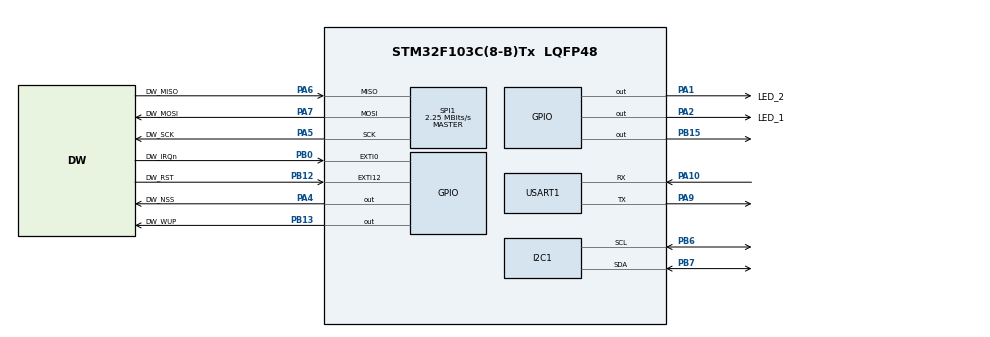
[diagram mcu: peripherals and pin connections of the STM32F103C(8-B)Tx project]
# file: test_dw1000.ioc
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Mcu.Family=STM32F1
Mcu.Name=STM32F103C(8-B)Tx
Mcu.Package=LQFP48
NVIC.EXTI0_IRQn=true\:3\:0\:true\:false\:true\:true\:true\:true
NVIC.EXTI15_10_IRQn=true\:4\:0\:true\:false\:true\:true\:true\:true
NVIC.PriorityGroup=NVIC_PRIORITYGROUP_4
NVIC.USART1_IRQn=true\:0\:0\:false\:false\:true\:true\:true\:true
PA1.GPIO_Label=LED_2
PA1.GPIO_Speed=GPIO_SPEED_FREQ_HIGH
PA1.Signal=GPIO_Output
PA10.Mode=Asynchronous
PA10.Signal=USART1_RX
PA13.Mode=Serial_Wire
PA13.Signal=SYS_JTMS-SWDIO
PA14.Mode=Serial_Wire
PA14.Signal=SYS_JTCK-SWCLK
PA2.GPIO_Label=LED_1
PA2.GPIO_Speed=GPIO_SPEED_FREQ_HIGH
PA2.Signal=GPIO_Output
PA4.GPIO_Label=DW_NSS
PA4.GPIO_Speed=GPIO_SPEED_FREQ_HIGH
PA4.PinState=GPIO_PIN_SET
PA4.Signal=GPIO_Output
PA5.GPIO_Label=DW_SCK
PA5.Mode=Full_Duplex_Master
PA5.Signal=SPI1_SCK
PA6.GPIO_Label=DW_MISO
PA6.GPIO_PuPd=GPIO_PULLDOWN
PA6.Mode=Full_Duplex_Master
PA6.Signal=SPI1_MISO
PA7.GPIO_Label=DW_MOSI
PA7.Mode=Full_Duplex_Master
PA7.Signal=SPI1_MOSI
PA9.Mode=Asynchronous
PA9.Signal=USART1_TX
PB0.GPIO_Label=DW_IRQn
PB0.GPIO_PuPd=GPIO_PULLDOWN
PB0.Signal=GPXTI0
PB12.GPIO_Label=DW_RST
PB12.Signal=GPXTI12
PB13.GPIO_Label=DW_WUP
PB13.GPIO_ModeDefaultOutputPP=GPIO_MODE_OUTPUT_OD
PB13.GPIO_PuPd=GPIO_NOPULL
PB13.GPIO_Speed=GPIO_SPEED_FREQ_HIGH
PB13.PinState=GPIO_PIN_SET
PB13.Signal=GPIO_Output
PB15.Signal=GPIO_Output
PB6.Mode=I2C
PB6.Signal=I2C1_SCL
PB7.Mode=I2C
PB7.Signal=I2C1_SDA
PD0-OSC_IN.Mode=HSE-External-Oscillator
PD0-OSC_IN.Signal=RCC_OSC_IN
PD1-OSC_OUT.Mode=HSE-External-Oscillator
PD1-OSC_OUT.Signal=RCC_OSC_OUT
ProjectManager.HeapSize=0x200
ProjectManager.StackSize=0x400
ProjectManager.TargetToolchain=STM32CubeIDE
RCC.AHBFreq_Value=72000000
RCC.APB1CLKDivider=RCC_HCLK_DIV2
RCC.APB1Freq_Value=36000000
RCC.APB1TimFreq_Value=72000000
RCC.APB2Freq_Value=72000000
RCC.APB2TimFreq_Value=72000000
RCC.HCLKFreq_Value=72000000
RCC.HSEDivPLL=RCC_HSE_PREDIV_DIV2
RCC.HSE_VALUE=16000000
RCC.PLLMUL=RCC_PLL_MUL9
RCC.PLLSourceVirtual=RCC_PLLSOURCE_HSE
RCC.SYSCLKFreq_VALUE=72000000
RCC.SYSCLKSource=RCC_SYSCLKSOURCE_PLLCLK
RCC.USBFreq_Value=48000000
RCC.USBPrescaler=RCC_USBCLKSOURCE_PLL_DIV1_5
SPI1.BaudRatePrescaler=SPI_BAUDRATEPRESCALER_32
SPI1.CalculateBaudRate=2.25 MBits/s
SPI1.Direction=SPI_DIRECTION_2LINES
SPI1.Mode=SPI_MODE_MASTER
SPI1.VirtualType=VM_MASTER
USART1.VirtualMode=VM_ASYNC
board=custom

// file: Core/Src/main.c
/* USER CODE BEGIN Header */
/**
  ******************************************************************************
  * @file           : main.c
  * @brief          : Main program body
  ******************************************************************************
  * @attention
  *
  * Copyright (c) 2024 STMicroelectronics.
  * All rights reserved.
  *
  * This software is licensed under terms that can be found in the LICENSE file
  * in the root directory of this software component.
  * If no LICENSE file comes with this software, it is provided AS-IS.
  *
  ******************************************************************************
  */
/* USER CODE END Header */
#include "main.h"
#include "gpio.h"
#include "i2c.h"
#include "spi.h"
#include "usart.h"

/* USER CODE BEGIN Includes */

#include "dw1000.h"
#include "examples_config.h"
#include "fsm.h"
#include "lcd.h"
#include "terminal.h"
#include "tests.h"

/* USER CODE END Includes */

void SystemClock_Config(void);

int
main(void) {

    /* MCU Configuration--------------------------------------------------------*/

    /* Reset of all peripherals, Initializes the Flash interface and the Systick. */
    HAL_Init();

    /* Configure the system clock */
    SystemClock_Config();

    /* Initialize all configured peripherals */
    MX_GPIO_Init();
    MX_SPI1_Init();
    MX_USART1_UART_Init();
    MX_I2C1_Init();
    /* USER CODE BEGIN 2 */

    setup_DW1000RSTnIRQ(0);

    terminal_init();

    initialise_dw1000();
    configure_dw1000();

#if MODE == TAG
    dwt_setrxantennadelay(TAG_RX_ANT_DLY_DTU);
    dwt_settxantennadelay(TAG_TX_ANT_DLY_DTU);
#else
    dwt_setrxantennadelay(ANCHOR_RX_ANT_DLY_DTU);
    dwt_settxantennadelay(ANCHOR_TX_ANT_DLY_DTU);
#endif

#if MODE == TAG
    source_address = TAG;
    designation_address = ANCHOR_1;
#elif MODE == ANCHOR_1
    source_address = ANCHOR_1;
#elif MODE == ANCHOR_2
    source_address = ANCHOR_2;
#elif MODE == ANCHOR_3
    source_address = ANCHOR_3;
#elif MODE == ANCHOR_4
    source_address = ANCHOR_4;
#endif

    /* USER CODE END 2 */

    /* Infinite loop */
    while (1) {

        /* USER CODE BEGIN 3 */
#if MODE == TAG
        tag_loop();
#else
        anchor_loop();
#endif
    }
    /* USER CODE END 3 */
}

void
SystemClock_Config(void) {
    RCC_OscInitTypeDef RCC_OscInitStruct = {0};
    RCC_ClkInitTypeDef RCC_ClkInitStruct = {0};

    /** Initializes the RCC Oscillators according to the specified parameters
    * in the RCC_OscInitTypeDef structure.
    */
    RCC_OscInitStruct.OscillatorType = RCC_OSCILLATORTYPE_HSE;
    RCC_OscInitStruct.HSEState = RCC_HSE_ON;
    RCC_OscInitStruct.HSEPredivValue = RCC_HSE_PREDIV_DIV2;
    RCC_OscInitStruct.HSIState = RCC_HSI_ON;
    RCC_OscInitStruct.PLL.PLLState = RCC_PLL_ON;
    RCC_OscInitStruct.PLL.PLLSource = RCC_PLLSOURCE_HSE;
    RCC_OscInitStruct.PLL.PLLMUL = RCC_PLL_MUL9;
    if (HAL_RCC_OscConfig(&RCC_OscInitStruct) != HAL_OK) {
        Error_Handler();
    }

    /** Initializes the CPU, AHB and APB buses clocks
    */
    RCC_ClkInitStruct.ClockType = RCC_CLOCKTYPE_HCLK | RCC_CLOCKTYPE_SYSCLK | RCC_CLOCKTYPE_PCLK1 | RCC_CLOCKTYPE_PCLK2;
    RCC_ClkInitStruct.SYSCLKSource = RCC_SYSCLKSOURCE_PLLCLK;
    RCC_ClkInitStruct.AHBCLKDivider = RCC_SYSCLK_DIV1;
    RCC_ClkInitStruct.APB1CLKDivider = RCC_HCLK_DIV2;
    RCC_ClkInitStruct.APB2CLKDivider = RCC_HCLK_DIV1;

    if (HAL_RCC_ClockConfig(&RCC_ClkInitStruct, FLASH_LATENCY_2) != HAL_OK) {
        Error_Handler();
    }
}

void
Error_Handler(void) {
    __disable_irq();
    while (1) {}
}

#ifdef USE_FULL_ASSERT
/**
  * @brief  Reports the name of the source file and the source line number
  *         where the assert_param error has occurred.
  * @param  file: pointer to the source file name
  * @param  line: assert_param error line source number
  * @retval None
  */
void
assert_failed(uint8_t* file, uint32_t line) {
    /* USER CODE BEGIN 6 */
    /* User can add his own implementation to report the file name and line number,
       ex: printf("Wrong parameters value: file %s on line %d\r\n", file, line) */
    char buf[256];

    sprintf(buf, "Wrong parameters value: file %s on line %d\r\n", file, line);

    terminal_print(buf, strlen(buf));
    while (1) {};
    /* USER CODE END 6 */
}
#endif /* USE_FULL_ASSERT */
